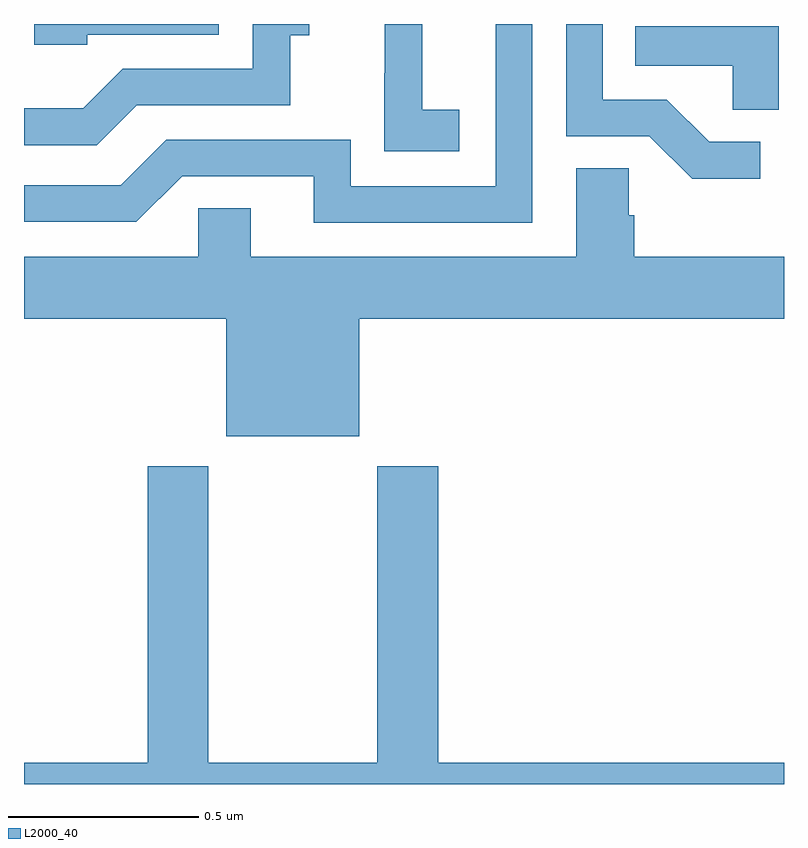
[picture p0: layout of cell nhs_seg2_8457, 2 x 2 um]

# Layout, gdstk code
import gdstk
lib = gdstk.Library(unit=1e-6, precision=1e-09)
def P(c, l, *ps):  # polygons
    for p in ps: c.add(gdstk.Polygon(p, *l))
L2000_40 = (2000, 40)

nhs_seg2_8457 = lib.new_cell('nhs_seg2_8457')
P(nhs_seg2_8457, L2000_40, [(217.167,593.772),(217.512,593.772),(217.512,593.8),(217.027,593.8),(217.027,593.745),(217.167,593.745)],
  [(218.146,593.575),(218.048,593.575),(218.048,593.8),(217.949,593.8),(217.949,593.671),(217.948,593.671),(217.948,593.465),(218.146,593.465)],
  [(218.337,593.8),(218.241,593.8),(218.241,593.373),(217.86,593.373),(217.86,593.496),(217.374,593.496),(217.254,593.376),(217,593.376),(217,593.28),(217.296,593.28),(217.416,593.4),(217.763,593.4),(217.763,593.277),(218.337,593.277)],
  [(217.297,593.586),(217.701,593.586),(217.701,593.771),(217.75,593.771),(217.75,593.8),(217.602,593.8),(217.602,593.682),(217.26,593.682),(217.156,593.578),(217,593.578),(217,593.481),(217.192,593.481)],
  [(218.938,593.49),(218.803,593.49),(218.692,593.601),(218.523,593.601),(218.523,593.8),(218.427,593.8),(218.427,593.505),(218.646,593.505),(218.759,593.393),(218.938,593.393)],
  [(218.986,593.794),(218.608,593.794),(218.608,593.69),(218.865,593.69),(218.865,593.575),(218.986,593.575)],
  [(217.882,593.024),(219,593.024),(219,593.188),(218.606,593.188),(218.606,593.297),(218.592,593.297),(218.592,593.42),(218.453,593.42),(218.453,593.188),(217.597,593.188),(217.597,593.315),(217.458,593.315),(217.458,593.188),(217,593.188),(217,593.024),(217.532,593.024),(217.532,592.715),(217.882,592.715)],
  [(219,591.856),(218.09,591.856),(218.09,592.636),(217.93,592.636),(217.93,591.856),(217.485,591.856),(217.485,592.636),(217.325,592.636),(217.325,591.856),(217,591.856),(217,591.8),(219,591.8)])

lib.write_gds('nhs_seg2_8457.gds')
